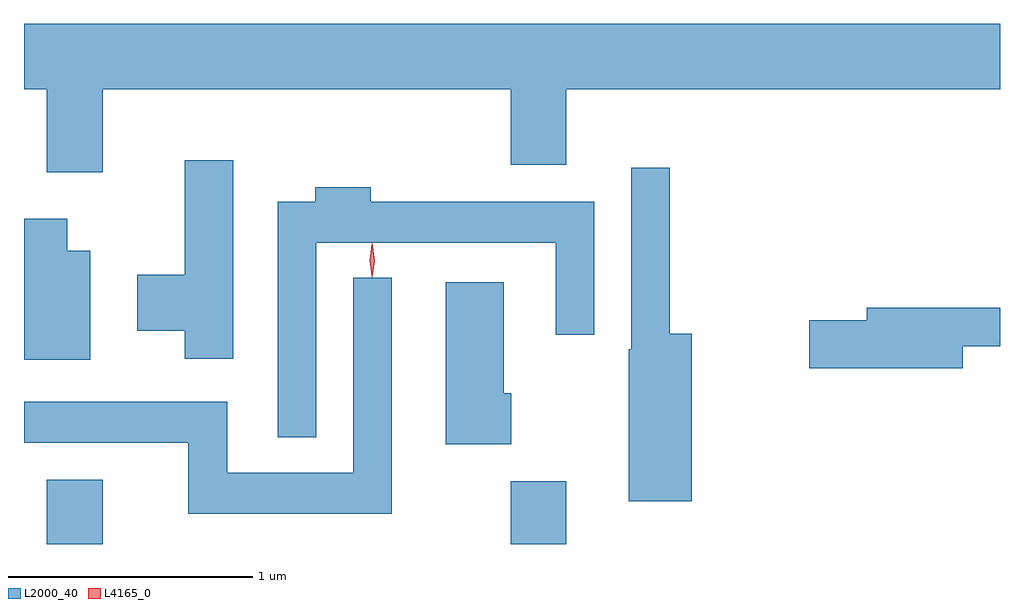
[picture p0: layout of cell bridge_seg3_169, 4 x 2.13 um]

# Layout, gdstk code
import gdstk
lib = gdstk.Library(unit=1e-6, precision=1e-09)
def R(c, l, rs):  # rectangles x0, y0, x1, y1
    for r in rs: c.add(gdstk.rectangle(r[:2], r[2:], *l))
def P(c, l, *ps):  # polygons
    for p in ps: c.add(gdstk.Polygon(p, *l))
L2000_40 = (2000, 40)
L4165_0 = (4165, 0)

bridge_seg3_169 = lib.new_cell('bridge_seg3_169')
R(bridge_seg3_169, L2000_40, [(890.351,1248.47,890.579,1248.734), (892.251,1248.47,892.479,1248.729)])
P(bridge_seg3_169, L2000_40, [(890.579,1250.336),(892.251,1250.336),(892.251,1250.026),(892.479,1250.026),(892.479,1250.336),(894.257,1250.336),(894.257,1250.604),(890.257,1250.604),(890.257,1250.336),(890.351,1250.336),(890.351,1249.996),(890.579,1249.996)],
  [(891.114,1250.044),(890.916,1250.044),(890.916,1249.574),(890.721,1249.574),(890.721,1249.346),(890.916,1249.346),(890.916,1249.231),(891.114,1249.231)],
  [(892.994,1249.334),(892.904,1249.334),(892.904,1250.013),(892.746,1250.013),(892.746,1249.27),(892.736,1249.27),(892.736,1248.646),(892.994,1248.646)],
  [(891.454,1249.706),(892.436,1249.706),(892.436,1249.328),(892.594,1249.328),(892.594,1249.874),(891.679,1249.874),(891.679,1249.934),(891.451,1249.934),(891.451,1249.874),(891.296,1249.874),(891.296,1248.908),(891.454,1248.908)],
  [(890.529,1249.674),(890.434,1249.674),(890.434,1249.804),(890.257,1249.804),(890.257,1249.226),(890.529,1249.226)],
  [(891.764,1249.563),(891.606,1249.563),(891.606,1248.764),(891.089,1248.764),(891.089,1249.054),(890.257,1249.054),(890.257,1248.886),(890.931,1248.886),(890.931,1248.596),(891.764,1248.596)],
  [(892.254,1249.089),(892.224,1249.089),(892.224,1249.544),(891.986,1249.544),(891.986,1248.881),(892.254,1248.881)],
  [(894.104,1249.281),(894.257,1249.281),(894.257,1249.439),(893.711,1249.439),(893.711,1249.389),(893.476,1249.389),(893.476,1249.191),(894.104,1249.191)])
P(bridge_seg3_169, L4165_0, [(891.683,1249.567),(891.683,1249.568),(891.673,1249.634),(891.682,1249.7),(891.683,1249.7),(891.683,1249.7),(891.693,1249.634),(891.684,1249.568)],
  [(891.684,1249.564),(891.684,1249.564),(891.674,1249.633),(891.684,1249.703),(891.684,1249.703),(891.685,1249.703),(891.694,1249.633),(891.685,1249.564)])

lib.write_gds('bridge_seg3_169.gds')
